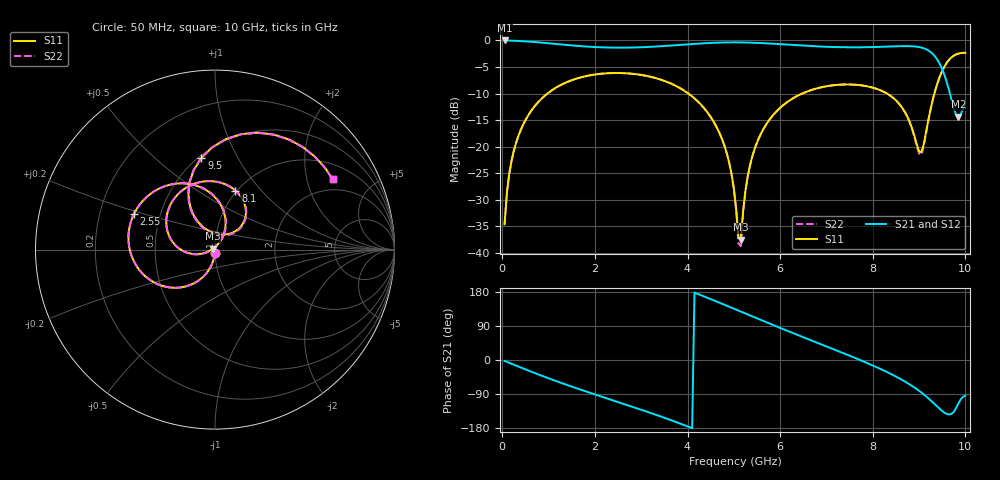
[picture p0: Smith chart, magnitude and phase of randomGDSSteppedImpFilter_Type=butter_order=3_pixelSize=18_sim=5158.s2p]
! freq	dB(S11)	phase(S11)	dB(S12)	phase(S12)
!  dB(S21)	phase(S21)	dB(S22)	phase(S22)
!S-par simulation data
#  GHz  S  DB  R 50
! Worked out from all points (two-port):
!   200 points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, 50 MHz to 10 GHz, reference 50 ohm
!   highest |S21| = 0.00 dB at 50 MHz (marker M1); lowest = -14.4 dB at 9.85 GHz (marker M2)
!   |S21| within 3 dB of the highest: start of sweep to 9.343 GHz
!   lowest |S11| = -37.5 dB at 5.15 GHz (marker M3), VSWR 1.03, Z = 48.8 + j0.504 ohm
!   |S11| at or under -10 dB: start of sweep to 975.5 MHz; 4.018 GHz to 6.476 GHz (2.459 GHz wide, 46.9 % of centre); 8.306 GHz to 9.331 GHz (1.025 GHz wide, 11.6 % of centre)
!   |S22| runs from -38.7 to -2.3 dB; largest |S21 - S12| = 0
!   S11 on the Smith chart (normalised r, x): 50 MHz: 1.00, -0.04; 2.55 GHz: 0.35, +0.18; 8.1 GHz: 0.98, +0.74; 9.5 GHz: 0.52, +0.72; 10 GHz: 1.51, +2.87
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0.05  -34.62 -92.6  -0.00 -2.5  -0.00 -2.5  -34.62 -92.6
0.2  -22.66 -100.5  -0.04 -10.1  -0.04 -10.1  -22.66 -100.5
0.5  -15.02 -115.4  -0.18 -24.8  -0.18 -24.8  -15.02 -115.4
1.75  -6.83 -171.3  -1.11 -80.7  -1.11 -80.7  -6.84 -171.4
2.55  -6.14 156.5  -1.37 -113.0  -1.37 -113.0  -6.14 156.4
3.4  -7.32 121.8  -1.10 -148.2  -1.10 -148.2  -7.32 121.5
4.55  -15.11 70.7  -0.45 158.2  -0.45 158.2  -15.11 69.9
4.85  -21.34 59.4  -0.37 143.1  -0.37 143.1  -21.36 57.9
5.05  -31.68 67.0  -0.36 132.8  -0.36 132.8  -31.95 62.4
5.1  -37.11 93.3  -0.37 130.3  -0.37 130.3  -38.19 87.1
5.15  -37.52 157.2  -0.37 127.7  -0.37 127.7  -38.74 161.9
5.3  -25.54 -162.8  -0.40 120.0  -0.40 120.0  -25.62 -160.7
5.55  -18.20 -168.5  -0.48 107.3  -0.48 107.3  -18.22 -167.7
6.7  -9.26 138.6  -1.08 50.4  -1.08 50.4  -9.27 138.6
7.45  -8.29 103.1  -1.29 13.9  -1.29 13.9  -8.29 102.9
8.1  -9.16 71.0  -1.23 -20.0  -1.23 -20.0  -9.17 70.5
8.35  -10.24 58.3  -1.15 -34.4  -1.15 -34.4  -10.24 57.7
8.7  -13.58 42.8  -1.07 -57.2  -1.07 -57.2  -13.62 41.6
9.05  -21.06 87.8  -1.35 -85.9  -1.35 -85.9  -21.53 87.6
9.5  -5.73 98.4  -5.41 -134.8  -5.41 -134.8  -5.76 98.7
9.85  -2.47 49.3  -14.38 -114.2  -14.38 -114.2  -2.48 49.4
10  -2.34 31.1  -11.92 -93.9  -11.92 -93.9  -2.34 31.0
